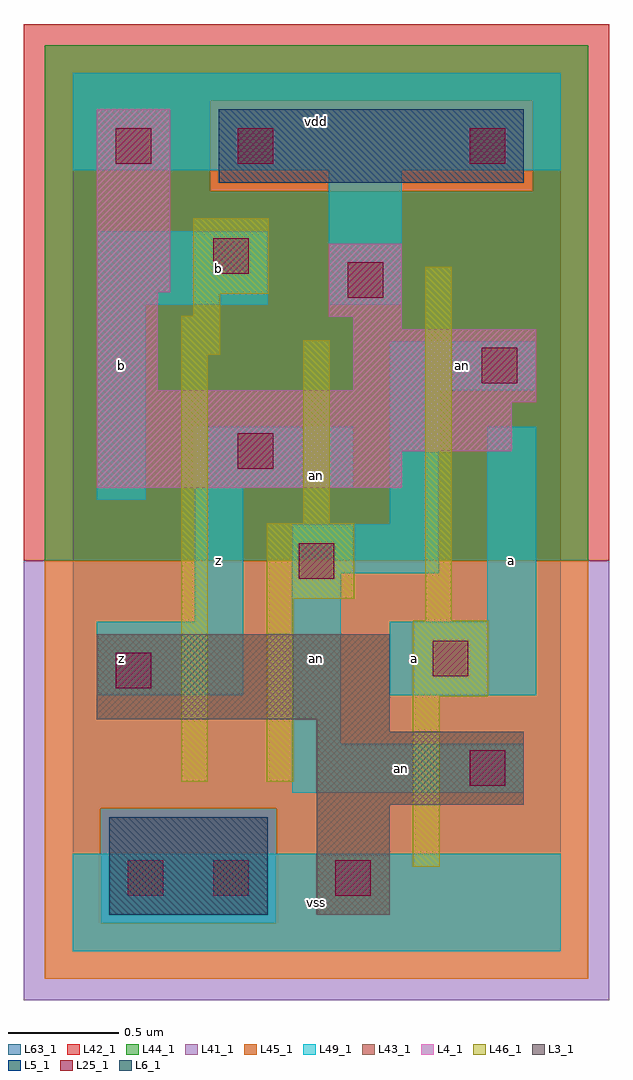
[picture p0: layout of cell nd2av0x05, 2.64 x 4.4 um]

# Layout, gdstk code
import gdstk
lib = gdstk.Library(unit=1e-6, precision=1e-09)
def R(c, l, rs):  # rectangles x0, y0, x1, y1
    for r in rs: c.add(gdstk.rectangle(r[:2], r[2:], *l))
L3_1 = (3, 1)
L4_1 = (4, 1)
L5_1 = (5, 1)
L6_1 = (6, 1)
L25_1 = (25, 1)
L41_1 = (41, 1)
L42_1 = (42, 1)
L43_1 = (43, 1)
L44_1 = (44, 1)
L45_1 = (45, 1)
L46_1 = (46, 1)
L49_1 = (49, 1)
L63_1 = (63, 1)

nd2av0x05 = lib.new_cell('nd2av0x05')
R(nd2av0x05, L3_1, [(1.1,0.165,1.43,0.66), (1.1,0.66,2.035,0.99), (1.1,0.99,1.43,1.045), (0.11,1.045,1.43,1.43)])
R(nd2av0x05, L4_1, [(0.11,2.09,1.485,2.255), (0.11,2.255,1.98,2.475), (0.11,2.475,2.09,2.53), (0.11,2.53,0.385,2.97), (1.265,2.53,2.09,2.805), (1.265,2.805,1.485,2.86), (1.155,2.86,1.485,3.19), (0.11,2.97,0.44,3.795)])
R(nd2av0x05, L5_1, [(0.66,3.465,2.035,3.795)])
R(nd2av0x05, L6_1, [(0.165,0.165,0.88,0.605)])
R(nd2av0x05, L25_1, [(0.25,0.25,0.41,0.41), (0.635,0.25,0.795,0.41), (1.185,0.25,1.345,0.41), (1.79,0.745,1.95,0.905), (0.195,1.185,0.355,1.345), (1.625,1.24,1.785,1.4), (1.02,1.68,1.18,1.84), (0.745,2.175,0.905,2.335), (1.845,2.56,2.005,2.72), (1.24,2.945,1.4,3.105), (0.635,3.055,0.795,3.215), (0.195,3.55,0.355,3.71), (0.745,3.55,0.905,3.71), (1.79,3.55,1.95,3.71)])
R(nd2av0x05, L41_1, [(-0.22,-0.22,2.42,1.76)])
R(nd2av0x05, L42_1, [(-0.22,1.76,2.42,4.18)])
R(nd2av0x05, L43_1, [(0.165,0.165,0.88,0.605), (1.1,0.165,1.43,0.66), (1.1,0.66,2.035,0.99), (1.1,0.99,1.43,1.045), (0.11,1.045,1.43,1.43), (0.11,2.09,1.485,2.255), (0.11,2.255,1.98,2.475), (0.11,2.475,2.09,2.53), (0.11,2.53,0.385,2.97), (1.265,2.53,2.09,2.805), (1.265,2.805,1.485,2.86), (1.155,2.86,1.485,3.19), (0.11,2.97,0.44,3.795), (0.66,3.465,2.035,3.795)])
R(nd2av0x05, L44_1, [(0.125,0.125,0.92,0.645), (-0.125,1.76,2.325,3.425), (-0.125,3.425,0.62,3.835), (2.075,3.425,2.325,3.835), (-0.125,3.835,2.325,4.085)])
R(nd2av0x05, L45_1, [(-0.125,-0.125,2.325,0.125), (-0.125,0.125,0.125,0.645), (0.92,0.125,2.325,0.645), (-0.125,0.645,2.325,1.76), (0.62,3.425,2.075,3.835)])
R(nd2av0x05, L46_1, [(1.535,0.38,1.655,1.15), (0.49,0.765,0.61,2.69), (0.875,0.765,0.995,1.59), (1.535,1.15,1.875,1.49), (1.59,1.49,1.71,3.085), (0.875,1.59,1.27,1.93), (1.04,1.93,1.16,2.755), (0.49,2.69,0.665,2.865), (0.545,2.865,0.665,2.965), (0.545,2.965,0.885,3.305)])
R(nd2av0x05, L49_1, [(0,0,2.2,0.44), (0.99,0.715,2.035,0.935), (0.99,0.935,1.21,1.705), (0.11,1.155,0.77,1.485), (1.43,1.155,2.09,1.485), (0.55,1.485,0.77,2.09), (1.87,1.485,2.09,2.365), (0.99,1.705,1.65,1.925), (1.43,1.925,1.65,2.53), (0.11,2.035,0.33,2.915), (0.55,2.09,1.265,2.365), (1.43,2.53,2.09,2.75), (0.11,2.915,0.88,3.245), (1.155,2.915,1.485,3.52), (0,3.52,2.2,3.96)])
R(nd2av0x05, L63_1, [(0,0,2.2,3.96)])
nd2av0x05.add(gdstk.Label('an', (1.1,2.145), layer=46, texttype=1))
nd2av0x05.add(gdstk.Label('z', (0.22,1.32), layer=49, texttype=1))
nd2av0x05.add(gdstk.Label('b', (0.22,2.64), layer=49, texttype=1))
nd2av0x05.add(gdstk.Label('z', (0.66,1.76), layer=49, texttype=1))
nd2av0x05.add(gdstk.Label('b', (0.66,3.08), layer=49, texttype=1))
nd2av0x05.add(gdstk.Label('vss', (1.1,0.22), layer=49, texttype=1))
nd2av0x05.add(gdstk.Label('an', (1.1,1.32), layer=49, texttype=1))
nd2av0x05.add(gdstk.Label('a', (1.54,1.32), layer=49, texttype=1))
nd2av0x05.add(gdstk.Label('z', (1.1,2.2), layer=49, texttype=1))
nd2av0x05.add(gdstk.Label('vdd', (1.1,3.74), layer=49, texttype=1))
nd2av0x05.add(gdstk.Label('an', (1.485,0.825), layer=49, texttype=1))
nd2av0x05.add(gdstk.Label('a', (1.98,1.76), layer=49, texttype=1))
nd2av0x05.add(gdstk.Label('an', (1.76,2.64), layer=49, texttype=1))

lib.write_gds('nd2av0x05.gds')
